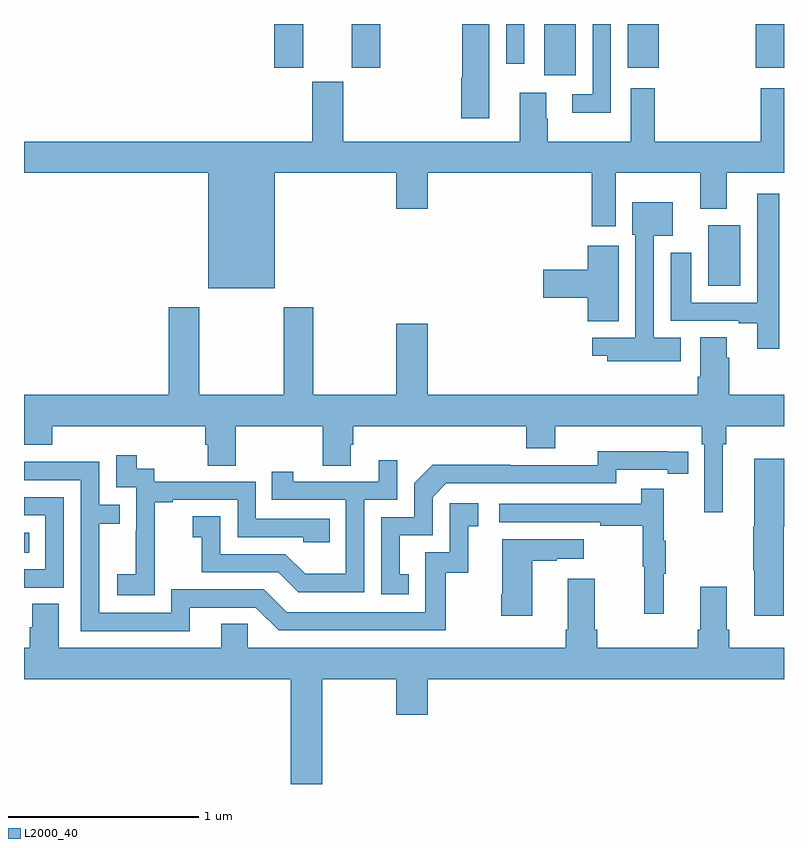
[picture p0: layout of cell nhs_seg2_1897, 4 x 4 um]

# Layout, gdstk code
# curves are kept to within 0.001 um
import gdstk
lib = gdstk.Library(unit=1e-6, precision=1e-09)
def R(c, l, rs):  # rectangles x0, y0, x1, y1
    for r in rs: c.add(gdstk.rectangle(r[:2], r[2:], *l))
def P(c, l, *ps):  # polygons
    for p in ps: c.add(gdstk.Polygon(p, *l))
L2000_40 = (2000, 40)

nhs_seg2_1897 = lib.new_cell('nhs_seg2_1897')
R(nhs_seg2_1897, L2000_40, [(211,599.018,211.028,599.122), (214.601,600.422,214.771,600.742), (213.737,601.53,213.904,601.8), (212.318,601.569,212.47,601.8), (212.726,601.569,212.874,601.8), (214.178,601.571,214.342,601.8), (214.85,601.571,215,601.8), (213.537,601.59,213.633,601.8)])
P(nhs_seg2_1897, L2000_40, [(213.448,601.8),(213.307,601.8),(213.307,601.517),(213.302,601.517),(213.302,601.305),(213.448,601.305)],
  [(214.089,601.8),(213.993,601.8),(213.993,601.431),(213.885,601.431),(213.885,601.334),(214.089,601.334)],
  [(212.32,601.016),(212.96,601.016),(212.96,600.828),(213.124,600.828),(213.124,601.016),(213.989,601.016),(213.989,600.735),(214.114,600.735),(214.114,601.016),(214.559,601.016),(214.559,600.827),(214.699,600.827),(214.699,601.016),(215,601.016),(215,601.462),(214.877,601.462),(214.877,601.18),(214.319,601.18),(214.319,601.462),(214.193,601.462),(214.193,601.18),(213.756,601.18),(213.756,601.301),(213.748,601.301),(213.748,601.438),(213.608,601.438),(213.608,601.18),(212.68,601.18),(212.68,601.497),(212.516,601.497),(212.516,601.18),(211,601.18),(211,601.016),(211.97,601.016),(211.97,600.41),(212.32,600.41)],
  [(214.976,600.907),(214.86,600.907),(214.86,600.333),(214.513,600.333),(214.513,600.595),(214.403,600.595),(214.403,600.237),(214.763,600.237),(214.763,600.225),(214.859,600.225),(214.859,600.09),(214.976,600.09)],
  [(214.456,600.148),(214.314,600.148),(214.314,600.686),(214.414,600.686),(214.414,600.862),(214.202,600.862),(214.202,600.69),(214.218,600.69),(214.218,600.15),(213.99,600.15),(213.99,600.053),(214.071,600.053),(214.071,600.026),(214.456,600.026)],
  [(214.129,600.634),(213.968,600.634),(213.968,600.506),(213.732,600.506),(213.732,600.359),(213.968,600.359),(213.968,600.235),(214.129,600.235)],
  [(214.678,599.588),(214.697,599.588),(214.697,599.684),(215,599.684),(215,599.848),(214.712,599.848),(214.712,600.044),(214.699,600.044),(214.699,600.152),(214.559,600.152),(214.559,599.944),(214.547,599.944),(214.547,599.848),(213.124,599.848),(213.124,600.223),(212.96,600.223),(212.96,599.848),(212.523,599.848),(212.523,600.31),(212.368,600.31),(212.368,599.848),(211.923,599.848),(211.923,600.31),(211.763,600.31),(211.763,599.848),(211,599.848),(211,599.585),(211.148,599.585),(211.148,599.684),(211.955,599.684),(211.955,599.586),(211.967,599.586),(211.967,599.476),(212.115,599.476),(212.115,599.684),(212.572,599.684),(212.572,599.476),(212.719,599.476),(212.719,599.586),(212.732,599.586),(212.732,599.684),(213.644,599.684),(213.644,599.567),(213.796,599.567),(213.796,599.684),(214.568,599.684),(214.568,599.588),(214.581,599.588),(214.581,599.229),(214.678,599.229)],
  [(213.026,598.905),(212.977,598.905),(212.977,599.109),(213.15,599.109),(213.15,599.31),(213.222,599.382),(214.116,599.382),(214.116,599.454),(214.388,599.454),(214.388,599.434),(214.496,599.434),(214.496,599.55),(214.02,599.551),(214.02,599.478),(213.56,599.478),(213.56,599.48),(213.152,599.48),(213.054,599.382),(213.054,599.205),(212.88,599.205),(212.88,598.8),(213.026,598.8)],
  [(211.689,598.999),(211.688,598.999),(211.688,599.283),(211.783,599.283),(211.783,599.295),(212.124,599.295),(212.124,599.1),(212.469,599.1),(212.469,599.073),(212.609,599.073),(212.609,599.196),(212.22,599.196),(212.22,599.391),(211.686,599.391),(211.686,599.46),(211.594,599.46),(211.594,599.53),(211.485,599.53),(211.485,599.361),(211.59,599.361),(211.59,599.132),(211.589,599.132),(211.589,598.903),(211.491,598.903),(211.491,598.793),(211.689,598.793)],
  [(214.998,599.154),(215,599.154),(215,599.512),(214.844,599.512),(214.844,599.154),(214.837,599.154),(214.837,598.924),(214.844,598.924),(214.844,598.686),(214.998,598.686)],
  [(212.79,599.295),(212.964,599.295),(212.964,599.503),(212.867,599.503),(212.867,599.391),(212.416,599.391),(212.416,599.443),(212.305,599.443),(212.305,599.295),(212.694,599.295),(212.694,598.906),(212.48,598.906),(212.376,599.01),(212.034,599.01),(212.034,599.209),(211.887,599.209),(211.887,599.099),(211.936,599.099),(211.936,598.914),(212.339,598.914),(212.444,598.809),(212.79,598.809)],
  [(211.873,598.728),(212.22,598.728),(212.34,598.608),(213.22,598.608),(213.22,598.911),(213.338,598.911),(213.338,599.157),(213.391,599.157),(213.391,599.278),(213.24,599.278),(213.24,599.019),(213.111,599.019),(213.111,598.704),(212.382,598.704),(212.262,598.824),(211.776,598.824),(211.776,598.701),(211.395,598.701),(211.395,599.17),(211.505,599.17),(211.505,599.271),(211.395,599.271),(211.395,599.496),(211,599.496),(211,599.4),(211.299,599.4),(211.299,598.605),(211.873,598.605)],
  [(214.367,598.907),(214.378,598.907),(214.378,599.081),(214.367,599.081),(214.367,599.353),(214.249,599.353),(214.249,599.274),(213.501,599.274),(213.501,599.178),(214.033,599.178),(214.033,599.158),(214.257,599.158),(214.257,598.944),(214.264,598.944),(214.264,598.695),(214.367,598.695)],
  [(211.209,599.31),(211,599.31),(211,599.214),(211.113,599.214),(211.113,598.929),(211,598.929),(211,598.833),(211.209,598.833)],
  [(213.676,598.975),(213.803,598.975),(213.803,598.985),(213.946,598.985),(213.946,599.089),(213.518,599.089),(213.518,598.798),(213.511,598.798),(213.511,598.686),(213.676,598.686)],
  [(212.569,598.352),(212.96,598.352),(212.96,598.164),(213.124,598.164),(213.124,598.352),(215,598.352),(215,598.516),(214.712,598.516),(214.712,598.612),(214.699,598.612),(214.699,598.837),(214.559,598.837),(214.559,598.612),(214.547,598.612),(214.547,598.516),(214.016,598.516),(214.016,598.612),(214.003,598.612),(214.003,598.879),(213.863,598.879),(213.863,598.612),(213.851,598.612),(213.851,598.516),(212.178,598.516),(212.178,598.643),(212.039,598.643),(212.039,598.516),(211.183,598.516),(211.183,598.748),(211.044,598.748),(211.044,598.625),(211.031,598.625),(211.031,598.516),(211,598.516),(211,598.352),(212.405,598.352),(212.405,597.8),(212.569,597.8)])

lib.write_gds('nhs_seg2_1897.gds')
